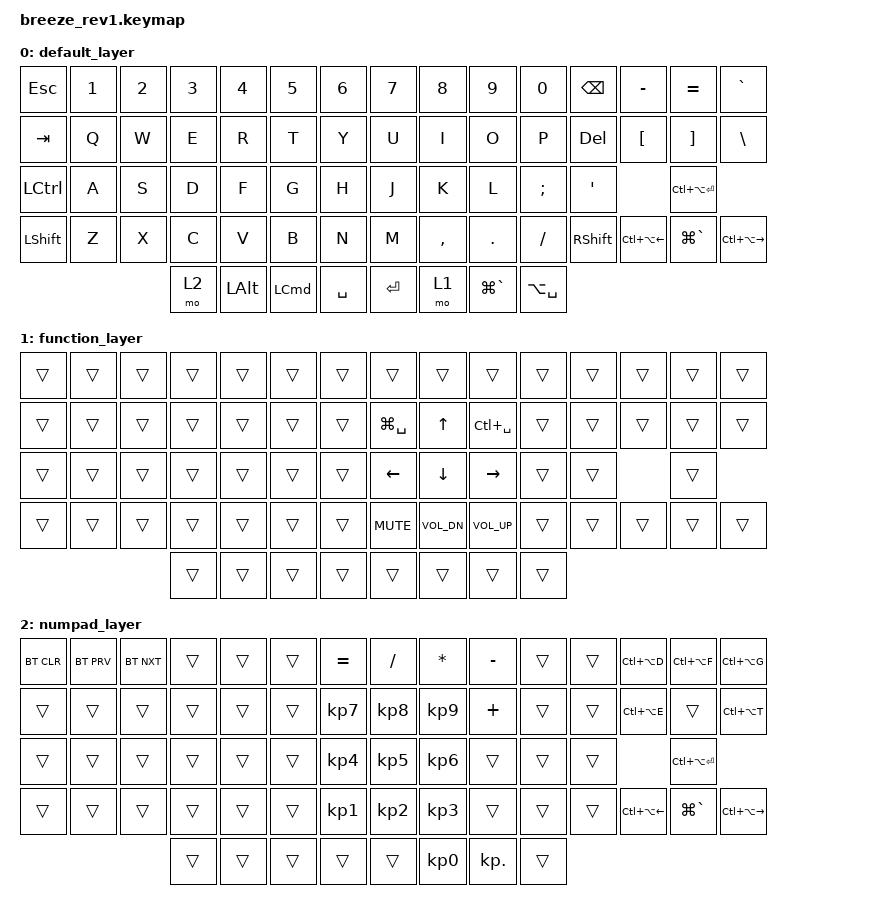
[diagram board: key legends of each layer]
/*
 * Copyright (c) 2022 The ZMK Contributors
 *
 * SPDX-License-Identifier: MIT
 */

#include <behaviors.dtsi>
#include <dt-bindings/zmk/keys.h>
#include <dt-bindings/zmk/bt.h>
#include <dt-bindings/zmk/ext_power.h>

/ {
	keymap {
		compatible = "zmk,keymap";

		default_layer {

// Ref: https://zmkfirmware.dev/docs/codes/

// ---  MAIN  -----------------------------------------------------------------------------------------------------------------------
// |    ESC    |     1     |     2     |     3      |      4      |      5     |                           |      6      |      7     |      8      |      9     |     0    |    BSPC    | |    -/_        |     =/+        |    GRAVE    |
// |    TAB    |     Q     |     W     |     E      |      R      |      T     |                           |      Y      |      U     |      I      |      O     |     P    |    DEL     | |     [         |      ]         |      \      |
// |   LCTRL   |     A     |     S     |     D      |      F      |      G     |                           |      H      |      J     |      K      |      L     |     ;    |     '      | |               |      UP        |             |
// |   SHIFT   |     Z     |     X     |     C      |      V      |      B     |                           |      N      |      M     |      ,      |      .     |     /    |   RSHIFT   | |     L         |      DN        |      R      |
//                                     |   NUMPAD   |     LALT    |    LCMD    |   SPACE    |  |   ENTER   |   FUNCTION  |  MACOS APP |  MACOS LANG |
			bindings = <
    &kp ESC    &kp N1      &kp N2      &kp N3       &kp N4        &kp N5                                   &kp N6         &kp N7      &kp N8        &kp N9       &kp N0      &kp BSPC      &kp MINUS        &kp EQUAL       &kp GRAVE
    &kp TAB    &kp Q       &kp W       &kp E        &kp R         &kp T                                    &kp Y          &kp U       &kp I         &kp O        &kp P       &kp DEL       &kp LBKT         &kp RBKT        &kp BSLH
    &kp LCTRL  &kp A       &kp S       &kp D        &kp F         &kp G                                    &kp H          &kp J       &kp K         &kp L        &kp SEMI    &kp APOS                       &kp LC(LA(RET)) 
    &kp LSHFT  &kp Z       &kp X       &kp C        &kp V         &kp B                                    &kp N          &kp M       &kp COMMA     &kp DOT      &kp FSLH    &kp RSHIFT    &kp LC(LA(LEFT)) &kp LG(GRAVE)   &kp LC(LA(RIGHT))
                                       &mo 2        &kp LALT      &kp LCMD     &kp SPACE       &kp RET     &mo 1          &kp LG(GRAVE) &kp LA(SPACE)
			>;
		};

		function_layer {
// ---  FUNCTION  -------------------------------------------------------------------------------------------------------------------
// |           |           |           |            |             |            |                           |             |            |             |            |          |            | |           |             |             |
// |           |           |           |            |             |            |                           |             | CMD SPACE  |     UP      | CTRL SPACE |          |            | |           |             |             |
// |           |           |           |            |             |            |                           |             |    LEFT    |    DOWN     |   RIGHT    |          |            | |           |             |             |
// |           |           |           |            |             |            |                           |             |    MUTE    |  VOL DOWN   |   VOL UP   |          |            | |           |             |             |
//                                     |            |             |            |            |  |           |             |            |             |
			bindings = <
    &trans     &trans      &trans      &trans       &trans        &trans                                   &trans        &trans       &trans        &trans        &trans     &trans        &trans      &trans        &trans
    &trans     &trans      &trans      &trans       &trans        &trans                                   &trans        &kp LG(SPACE) &kp UP       &kp LC(SPACE) &trans     &trans        &trans      &trans        &trans
    &trans     &trans      &trans      &trans       &trans        &trans                                   &trans        &kp LEFT     &kp DOWN      &kp RIGHT     &trans     &trans                    &trans              
    &trans     &trans      &trans      &trans       &trans        &trans                                   &trans        &kp C_MUTE   &kp C_VOL_DN  &kp C_VOL_UP  &trans     &trans        &trans      &trans        &trans
                                       &trans       &trans        &trans        &trans          &trans     &trans        &trans       &trans
			>;
		};

		numpad_layer { 
// ---  NUMPAD  -------------------------------------------------------------------------------------------------------------------                                                             ------          MAGENT SCREEN MACROS    -------
// |           |           |           |            |             |            |                           |       =       |      /       |      *       |      -     |          |            | |   1/3 LEFT     |   1/3 CENT    |  1/3 RIGHT  |
// |           |           |           |            |             |            |                           |       7       |      8       |      9       |      +     |          |            | |   2/3 LEFT     |               |  2/3 RIGHT  |
// |           |           |           |            |             |            |                           |       4       |      5       |      6       |            |          |            | |                |     FULL      |             |
// |           |           |           |            |             |            |                           |       1       |      2       |      3       |            |          |            | |   1/2 LEFT     |     FULL      |  1/2 RIGHT  |
//                                     |            |             |            |            |  |           |       0       |      .       |              |
			bindings = <
    &bt BT_CLR &bt BT_PRV  &bt BT_NXT  &trans       &trans        &trans                                   &kp EQUAL       &kp SLASH       &kp STAR        &kp MINUS     &trans     &trans       &kp LC(LA(D))    &kp LC(LA(F))   &kp LC(LA(G))
    &trans     &trans      &trans      &trans       &trans        &trans                                   &kp KP_NUMBER_7 &kp KP_NUMBER_8 &kp KP_NUMBER_9 &kp PLUS      &trans     &trans       &kp LC(LA(E))    &trans          &kp LC(LA(T))
    &trans     &trans      &trans      &trans       &trans        &trans                                   &kp KP_NUMBER_4 &kp KP_NUMBER_5 &kp KP_NUMBER_6 &trans        &trans     &trans                        &kp LC(LA(RET))              
    &trans     &trans      &trans      &trans       &trans        &trans                                   &kp KP_NUMBER_1 &kp KP_NUMBER_2 &kp KP_NUMBER_3 &trans        &trans     &trans       &kp LC(LA(LEFT)) &kp LG(GRAVE)   &kp LC(LA(RIGHT))
                                       &trans       &trans        &trans        &trans          &trans     &kp KP_NUMBER_0 &kp KP_DOT      &trans
			>;
		};
	};
};
